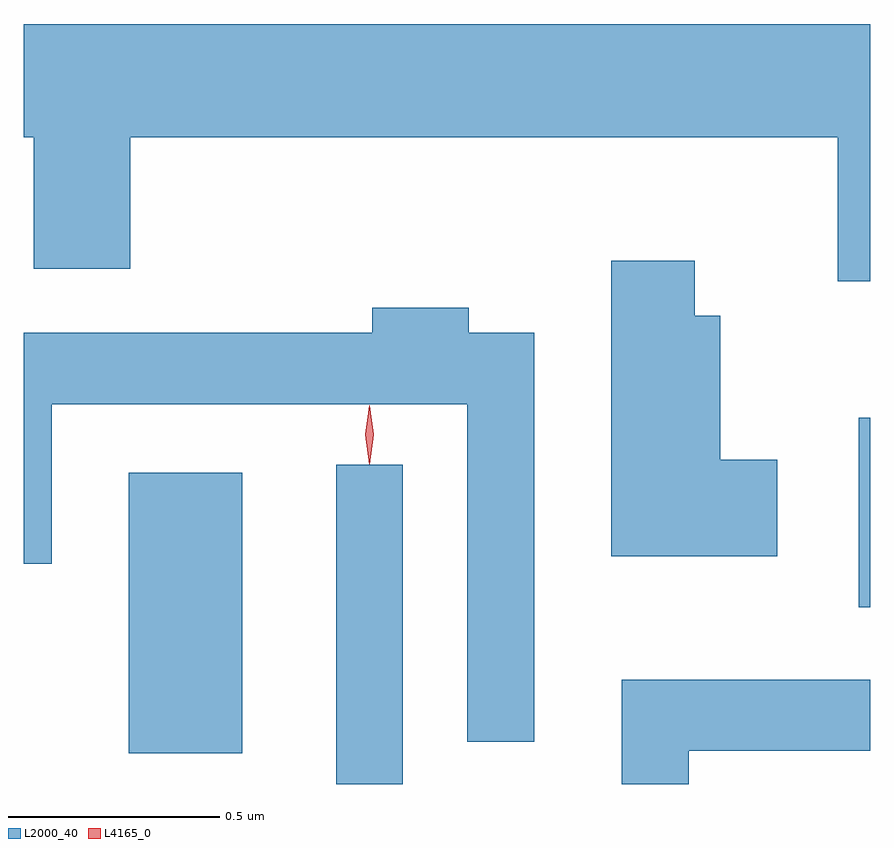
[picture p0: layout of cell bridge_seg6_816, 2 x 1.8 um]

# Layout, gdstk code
import gdstk
lib = gdstk.Library(unit=1e-6, precision=1e-09)
def R(c, l, rs):  # rectangles x0, y0, x1, y1
    for r in rs: c.add(gdstk.rectangle(r[:2], r[2:], *l))
def P(c, l, *ps):  # polygons
    for p in ps: c.add(gdstk.Polygon(p, *l))
L2000_40 = (2000, 40)
L4165_0 = (4165, 0)

bridge_seg6_816 = lib.new_cell('bridge_seg6_816')
R(bridge_seg6_816, L2000_40, [(509.536,1537.408,509.694,1538.163), (509.046,1537.481,509.314,1538.144), (510.771,1537.826,510.798,1538.274)])
P(bridge_seg6_816, L2000_40, [(510.798,1539.204),(508.798,1539.204),(508.798,1538.936),(508.821,1538.936),(508.821,1538.626),(509.049,1538.626),(509.049,1538.936),(510.721,1538.936),(510.721,1538.596),(510.798,1538.596)],
  [(510.579,1538.174),(510.444,1538.174),(510.444,1538.514),(510.384,1538.514),(510.384,1538.644),(510.186,1538.644),(510.186,1537.946),(510.579,1537.946)],
  [(510.004,1538.474),(509.849,1538.474),(509.849,1538.534),(509.621,1538.534),(509.621,1538.474),(508.798,1538.474),(508.798,1537.928),(508.864,1537.928),(508.864,1538.306),(509.846,1538.306),(509.846,1537.508),(510.004,1537.508)],
  [(510.369,1537.486),(510.798,1537.486),(510.798,1537.654),(510.211,1537.654),(510.211,1537.408),(510.369,1537.408)])
P(bridge_seg6_816, L4165_0, [(509.614,1538.164),(509.605,1538.233),(509.614,1538.302),(509.615,1538.303),(509.615,1538.302),(509.625,1538.233),(509.615,1538.164),(509.615,1538.164)],
  [(509.614,1538.167),(509.605,1538.234),(509.614,1538.3),(509.615,1538.3),(509.615,1538.3),(509.625,1538.234),(509.615,1538.167),(509.615,1538.167)])

lib.write_gds('bridge_seg6_816.gds')
